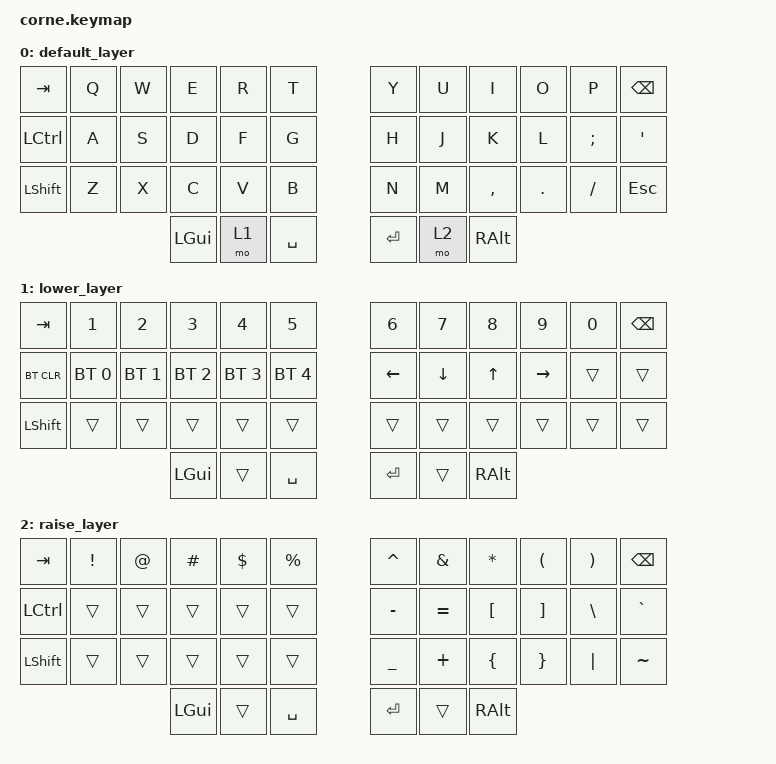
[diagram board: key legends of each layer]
/*
 * Copyright (c) 2020 The ZMK Contributors
 *
 * SPDX-License-Identifier: MIT
 */

#include <behaviors.dtsi>
#include <dt-bindings/zmk/keys.h>
#include <dt-bindings/zmk/bt.h>

/ {
        keymap {
                compatible = "zmk,keymap";

                default_layer {
// -----------------------------------------------------------------------------------------
// |  TAB |  Q  |  W  |  E  |  R  |  T  |   |  Y  |  U   |  I  |  O  |  P  | BSPC |
// | CTRL |  A  |  S  |  D  |  F  |  G  |   |  H  |  J   |  K  |  L  |  ;  |  '   |
// | SHFT |  Z  |  X  |  C  |  V  |  B  |   |  N  |  M   |  ,  |  .  |  /  | ESC  |
//                    | GUI | LWR | SPC |   | ENT | RSE  | ALT |
                        bindings = <
//        ┌──────┬───┬───┬───┬──────┬──────┐               ┌──────┬──────┬───┬───┬───┬──────┐
//        │ tab  │ Q │ W │ E │  R   │  T   │               │  Y   │  U   │ I │ O │ P │ bspc │
//        ├──────┼───┼───┼───┼──────┼──────┤               ├──────┼──────┼───┼───┼───┼──────┤
//        │ lctl │ A │ S │ D │  F   │  G   │               │  H   │  J   │ K │ L │ ; │  '   │
//        ├──────┼───┼───┼───┼──────┼──────┤               ├──────┼──────┼───┼───┼───┼──────┤
//        │ lsft │ Z │ X │ C │  V   │  B   │               │  N   │  M   │ , │ . │ / │ esc  │
//        └──────┴───┴───┴───┼──────┼──────┼─────┐   ┌─────┼──────┼──────┼───┴───┴───┴──────┘
//                           │ lgui │ mo 1 │ spc │   │ ent │ mo 2 │ ralt │
//                           └──────┴──────┴─────┘   └─────┴──────┴──────┘
      &kp TAB     &kp Q   &kp W   &kp E   &kp R      &kp T                             &kp Y   &kp U      &kp I       &kp O     &kp P      &kp BSPC
      &kp LCTRL   &kp A   &kp S   &kp D   &kp F      &kp G                             &kp H   &kp J      &kp K       &kp L     &kp SEMI   &kp SQT
      &kp LSHFT   &kp Z   &kp X   &kp C   &kp V      &kp B                             &kp N   &kp M      &kp COMMA   &kp DOT   &kp FSLH   &kp ESC
                                          &kp LGUI   &mo 1   &kp SPACE       &kp RET   &mo 2   &kp RALT
                        >;
                };
                lower_layer {
// -----------------------------------------------------------------------------------------
// |  TAB |  1  |  2  |  3  |  4  |  5  |   |  6  |  7  |  8  |  9  |  0  | BSPC |
// | BTCLR| BT1 | BT2 | BT3 | BT4 | BT5 |   | LFT | DWN |  UP | RGT |     |      |
// | SHFT |     |     |     |     |     |   |     |     |     |     |     |      |
//                    | GUI |     | SPC |   | ENT |     | ALT |
                        bindings = <
//        ┌────────┬──────────┬──────────┬──────────┬──────────┬──────────┐               ┌──────┬──────┬─────┬──────┬─────┬──────┐
//        │  tab   │    1     │    2     │    3     │    4     │    5     │               │  6   │  7   │  8  │  9   │  0  │ bspc │
//        ├────────┼──────────┼──────────┼──────────┼──────────┼──────────┤               ├──────┼──────┼─────┼──────┼─────┼──────┤
//        │ bt_clr │ bt_sel 0 │ bt_sel 1 │ bt_sel 2 │ bt_sel 3 │ bt_sel 4 │               │ left │ down │ up  │ rght │     │      │
//        ├────────┼──────────┼──────────┼──────────┼──────────┼──────────┤               ├──────┼──────┼─────┼──────┼─────┼──────┤
//        │  lsft  │          │          │          │          │          │               │      │      │     │      │     │      │
//        └────────┴──────────┴──────────┴──────────┼──────────┼──────────┼─────┐   ┌─────┼──────┼──────┼─────┴──────┴─────┴──────┘
//                                                  │   lgui   │          │ spc │   │ ent │      │ ralt │
//                                                  └──────────┴──────────┴─────┘   └─────┴──────┴──────┘
      &kp TAB      &kp N1         &kp N2         &kp N3         &kp N4         &kp N5                                   &kp N6     &kp N7     &kp N8   &kp N9      &kp N0   &kp BSPC
      &bt BT_CLR   &bt BT_SEL 0   &bt BT_SEL 1   &bt BT_SEL 2   &bt BT_SEL 3   &bt BT_SEL 4                             &kp LEFT   &kp DOWN   &kp UP   &kp RIGHT   &trans   &trans
      &kp LSHFT    &trans         &trans         &trans         &trans         &trans                                   &trans     &trans     &trans   &trans      &trans   &trans
                                                                &kp LGUI       &trans         &kp SPACE       &kp RET   &trans     &kp RALT
                        >;
                };

                raise_layer {
// -----------------------------------------------------------------------------------------
// |  TAB |  !  |  @  |  #  |  $  |  %  |   |  ^  |  &  |  *  |  (  |  )  | BSPC |
// | CTRL |     |     |     |     |     |   |  -  |  =  |  [  |  ]  |  \  |  `   |
// | SHFT |     |     |     |     |     |   |  _  |  +  |  {  |  }  | "|" |  ~   |
//                    | GUI |     | SPC |   | ENT |     | ALT |
                        bindings = <
//        ┌──────┬─────┬─────┬─────┬──────┬─────┐               ┌─────┬──────┬───┬───┬───┬──────┐
//        │ tab  │  !  │  @  │  #  │  $   │  %  │               │  ^  │  &   │ * │ ( │ ) │ bspc │
//        ├──────┼─────┼─────┼─────┼──────┼─────┤               ├─────┼──────┼───┼───┼───┼──────┤
//        │ lctl │     │     │     │      │     │               │  -  │  =   │ [ │ ] │ \ │  `   │
//        ├──────┼─────┼─────┼─────┼──────┼─────┤               ├─────┼──────┼───┼───┼───┼──────┤
//        │ lsft │     │     │     │      │     │               │  _  │  +   │ { │ } │ | │  ~   │
//        └──────┴─────┴─────┴─────┼──────┼─────┼─────┐   ┌─────┼─────┼──────┼───┴───┴───┴──────┘
//                                 │ lgui │     │ spc │   │ ent │     │ ralt │
//                                 └──────┴─────┴─────┘   └─────┴─────┴──────┘
      &kp TAB     &kp EXCL   &kp AT   &kp HASH   &kp DLLR   &kp PRCNT                             &kp CARET   &kp AMPS    &kp ASTRK   &kp LPAR   &kp RPAR   &kp BSPC
      &kp LCTRL   &trans     &trans   &trans     &trans     &trans                                &kp MINUS   &kp EQUAL   &kp LBKT    &kp RBKT   &kp BSLH   &kp GRAVE
      &kp LSHFT   &trans     &trans   &trans     &trans     &trans                                &kp UNDER   &kp PLUS    &kp LBRC    &kp RBRC   &kp PIPE   &kp TILDE
                                                 &kp LGUI   &trans      &kp SPACE       &kp RET   &trans      &kp RALT
                        >;
                };
        };
};
